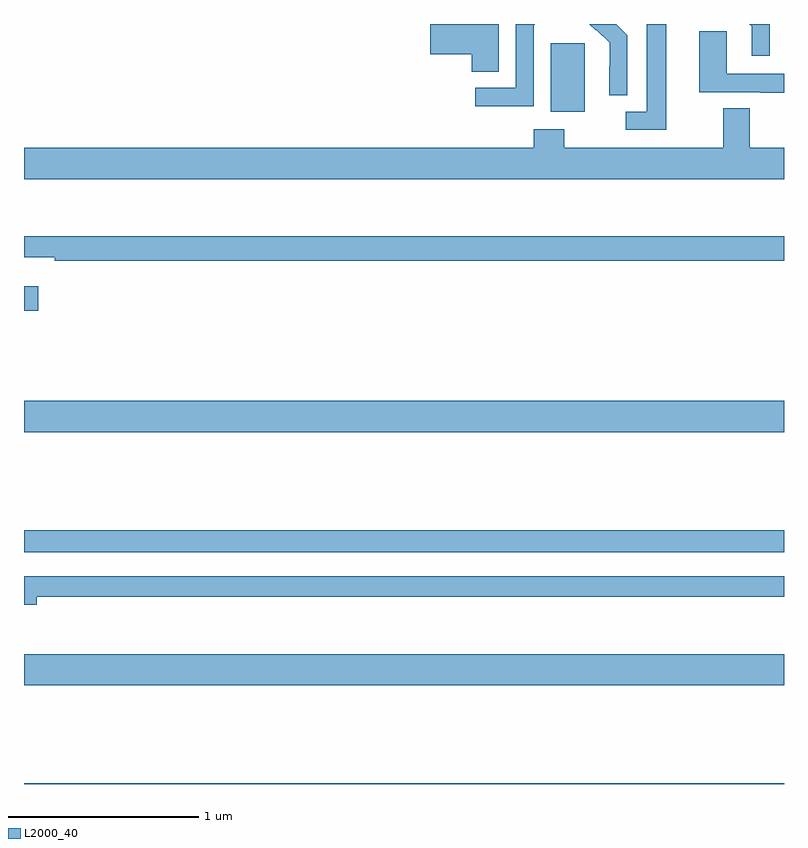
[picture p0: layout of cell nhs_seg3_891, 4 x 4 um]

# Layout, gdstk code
import gdstk
lib = gdstk.Library(unit=1e-6, precision=1e-09)
def R(c, l, rs):  # rectangles x0, y0, x1, y1
    for r in rs: c.add(gdstk.rectangle(r[:2], r[2:], *l))
def P(c, l, *ps):  # polygons
    for p in ps: c.add(gdstk.Polygon(p, *l))
L2000_40 = (2000, 40)

nhs_seg3_891 = lib.new_cell('nhs_seg3_891')
R(nhs_seg3_891, L2000_40, [(157,696.4,161,696.404), (157,696.92,161,697.084), (157,697.62,161,697.736), (157,698.252,161,698.416), (157,698.89,157.075,699.019), (159.773,699.938,159.952,700.299)])
P(nhs_seg3_891, L2000_40, [(160.926,700.4),(160.818,700.4),(160.829,700.389),(160.829,700.233),(160.926,700.233)],
  [(160.381,700.4),(160.277,700.4),(160.277,699.939),(160.167,699.939),(160.167,699.843),(160.381,699.843)],
  [(159.499,700.4),(159.138,700.4),(159.138,700.241),(159.356,700.241),(159.356,700.15),(159.499,700.15)],
  [(160.176,700.342),(160.118,700.4),(159.976,700.4),(160.008,700.368),(160.011,700.371),(160.082,700.301),(160.082,700.178),(160.08,700.178),(160.08,700.024),(160.176,700.024)],
  [(159.684,700.396),(159.687,700.396),(159.687,700.4),(159.588,700.4),(159.588,700.065),(159.375,700.065),(159.375,699.967),(159.684,699.967)],
  [(161,700.137),(160.698,700.137),(160.698,700.361),(160.553,700.361),(160.553,700.041),(160.877,700.041),(160.877,700.037),(161,700.037)],
  [(161,699.748),(160.819,699.748),(160.819,699.956),(160.679,699.956),(160.679,699.748),(159.843,699.748),(159.843,699.847),(159.683,699.847),(159.683,699.748),(157,699.748),(157,699.584),(161,699.584)],
  [(161,699.283),(157,699.283),(157,699.173),(157.162,699.173),(157.162,699.154),(161,699.154)],
  [(157.066,697.386),(161,697.386),(161,697.494),(157,697.494),(157,697.343),(157.066,697.343)])

lib.write_gds('nhs_seg3_891.gds')
